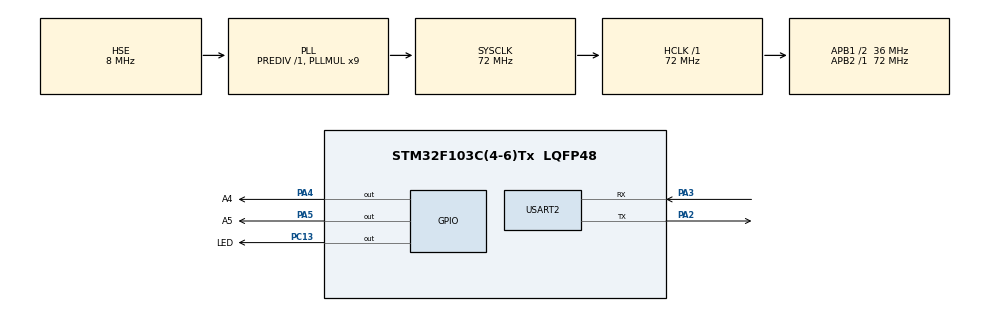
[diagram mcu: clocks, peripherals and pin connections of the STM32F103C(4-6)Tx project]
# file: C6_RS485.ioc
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Mcu.Family=STM32F1
Mcu.Name=STM32F103C(4-6)Tx
Mcu.Package=LQFP48
NVIC.PriorityGroup=NVIC_PRIORITYGROUP_4
NVIC.USART2_IRQn=true\:0\:0\:false\:false\:true\:true\:true
PA13.Mode=Serial_Wire
PA13.Signal=SYS_JTMS-SWDIO
PA14.Mode=Serial_Wire
PA14.Signal=SYS_JTCK-SWCLK
PA2.Mode=Asynchronous
PA2.Signal=USART2_TX
PA3.Mode=Asynchronous
PA3.Signal=USART2_RX
PA4.GPIO_Label=A4
PA4.Signal=GPIO_Output
PA5.GPIO_Label=A5
PA5.Signal=GPIO_Output
PC13-TAMPER-RTC.GPIO_Label=LED
PC13-TAMPER-RTC.Signal=GPIO_Output
PD0-OSC_IN.Mode=HSE-External-Oscillator
PD0-OSC_IN.Signal=RCC_OSC_IN
PD1-OSC_OUT.Mode=HSE-External-Oscillator
PD1-OSC_OUT.Signal=RCC_OSC_OUT
ProjectManager.HeapSize=0x200
ProjectManager.StackSize=0x400
ProjectManager.TargetToolchain=STM32CubeIDE
RCC.AHBFreq_Value=72000000
RCC.APB1CLKDivider=RCC_HCLK_DIV2
RCC.APB1Freq_Value=36000000
RCC.APB1TimFreq_Value=72000000
RCC.APB2Freq_Value=72000000
RCC.APB2TimFreq_Value=72000000
RCC.HCLKFreq_Value=72000000
RCC.PLLMUL=RCC_PLL_MUL9
RCC.PLLSourceVirtual=RCC_PLLSOURCE_HSE
RCC.SYSCLKFreq_VALUE=72000000
RCC.SYSCLKSource=RCC_SYSCLKSOURCE_PLLCLK
RCC.USBFreq_Value=72000000
USART2.VirtualMode=VM_ASYNC
board=custom

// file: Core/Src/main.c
/* USER CODE BEGIN Header */
/**
 ******************************************************************************
 * @file           : main.c
 * @brief          : Main program body
 ******************************************************************************
 * @attention
 *
 * <h2><center>&copy; Copyright (c) 2023 STMicroelectronics.
 * All rights reserved.</center></h2>
 *
 * This software component is licensed by ST under BSD 3-Clause license,
 * the "License"; You may not use this file except in compliance with the
 * License. You may obtain a copy of the License at:
 *                        opensource.org/licenses/BSD-3-Clause
 *
 ******************************************************************************
 */
/* USER CODE END Header */
#include "main.h"

/* USER CODE BEGIN Includes */
#include "modbus_crc.h"
#include "string.h"
#include "stdio.h"
/* USER CODE END Includes */

UART_HandleTypeDef huart2;

void SystemClock_Config(void);
static void MX_GPIO_Init(void);
static void MX_USART2_UART_Init(void);

/* USER CODE BEGIN 0 */
uint8_t RxData[32];
uint8_t TxData[8];
uint16_t Data[10];
void HAL_UARTEx_RxEventCallback(UART_HandleTypeDef *huart, uint16_t Size) {
	Data[0] = RxData[3] << 8 | RxData[4];
	Data[1] = RxData[5] << 8 | RxData[6];
	Data[2] = RxData[7] << 8 | RxData[8];
	Data[3] = RxData[9] << 8 | RxData[10];
	HAL_UARTEx_ReceiveToIdle_IT(&huart2, RxData, 32);
}
void sendData(uint8_t *data) {
	HAL_GPIO_WritePin(A5_GPIO_Port, A5_Pin, 1);
	HAL_GPIO_WritePin(A4_GPIO_Port, A4_Pin, 1);
	HAL_UART_Transmit(&huart2, data, 8, 1000);
	HAL_GPIO_WritePin(A5_GPIO_Port, A5_Pin, 0);
	HAL_GPIO_WritePin(A4_GPIO_Port, A4_Pin, 0);
}
/* USER CODE END 0 */

int main(void) {

	/* MCU Configuration--------------------------------------------------------*/

	/* Reset of all peripherals, Initializes the Flash interface and the Systick. */
	HAL_Init();

	/* Configure the system clock */
	SystemClock_Config();

	/* Initialize all configured peripherals */
	MX_GPIO_Init();
	MX_USART2_UART_Init();
	/* USER CODE BEGIN 2 */
	HAL_UARTEx_ReceiveToIdle_IT(&huart2, RxData, 32);

	TxData[0] = 0x00;  // slave address
	TxData[1] = 0x03;  // Function code for Read Holding Registers
	//TxData[1] = 0x04;  // Function code for Read Input Registers

	/*
	 * The function code 0x03 means we are reading Holding Registers
	 * The Register address ranges from 40001 - 50000
	 * The register address we input can range from 0-9999 (0x00-0x270F)
	 * Here 0 corresponds to the Address 40001 and 9999 corresponds to 50000
	 * Although we can only read 125 registers sequentially at once
	 */
	//  //The Register address will be 00000000 00000100 = 4 + 40001 = 40005
	TxData[2] = 0;			// address begin 4001
	TxData[3] = 0x00;		// 4001 + 0x01 = 4002
	//The Register address will be 00000000 00000001 = 1 +30001 = 30002

	TxData[4] = 0;			// 0x00
	TxData[5] = 0x05;		// 0x00 + 0x05 = 5 registers
	// no of registers to read will be 00000000 00000101 = 5 Registers = 10 Bytes

	/// 0x00 0x03 0x00 0x01 0x00 0x05 -> read address 4002  ->> 4006 ///

	uint16_t crc = crc16(TxData, 6);
	TxData[6] = crc & 0xFF;   // CRC LOW
	TxData[7] = (crc >> 8) & 0xFF;  // CRC HIGH

	sendData(TxData);
	/* USER CODE END 2 */

	/* Infinite loop */
	/* USER CODE BEGIN WHILE */
	while (1) {
		// TODO
		HAL_GPIO_TogglePin(LED_GPIO_Port, LED_Pin);
		sendData(TxData);
		HAL_Delay(1000);
		/* USER CODE END WHILE */

	}
}

void SystemClock_Config(void) {
	RCC_OscInitTypeDef RCC_OscInitStruct = { 0 };
	RCC_ClkInitTypeDef RCC_ClkInitStruct = { 0 };

	/** Initializes the RCC Oscillators according to the specified parameters
	 * in the RCC_OscInitTypeDef structure.
	 */
	RCC_OscInitStruct.OscillatorType = RCC_OSCILLATORTYPE_HSE;
	RCC_OscInitStruct.HSEState = RCC_HSE_ON;
	RCC_OscInitStruct.HSEPredivValue = RCC_HSE_PREDIV_DIV1;
	RCC_OscInitStruct.HSIState = RCC_HSI_ON;
	RCC_OscInitStruct.PLL.PLLState = RCC_PLL_ON;
	RCC_OscInitStruct.PLL.PLLSource = RCC_PLLSOURCE_HSE;
	RCC_OscInitStruct.PLL.PLLMUL = RCC_PLL_MUL9;
	if (HAL_RCC_OscConfig(&RCC_OscInitStruct) != HAL_OK) {
		Error_Handler();
	}
	/** Initializes the CPU, AHB and APB buses clocks
	 */
	RCC_ClkInitStruct.ClockType = RCC_CLOCKTYPE_HCLK | RCC_CLOCKTYPE_SYSCLK
			| RCC_CLOCKTYPE_PCLK1 | RCC_CLOCKTYPE_PCLK2;
	RCC_ClkInitStruct.SYSCLKSource = RCC_SYSCLKSOURCE_PLLCLK;
	RCC_ClkInitStruct.AHBCLKDivider = RCC_SYSCLK_DIV1;
	RCC_ClkInitStruct.APB1CLKDivider = RCC_HCLK_DIV2;
	RCC_ClkInitStruct.APB2CLKDivider = RCC_HCLK_DIV1;

	if (HAL_RCC_ClockConfig(&RCC_ClkInitStruct, FLASH_LATENCY_2) != HAL_OK) {
		Error_Handler();
	}
}

static void MX_USART2_UART_Init(void) {

	huart2.Instance = USART2;
	huart2.Init.BaudRate = 115200;
	huart2.Init.WordLength = UART_WORDLENGTH_8B;
	huart2.Init.StopBits = UART_STOPBITS_1;
	huart2.Init.Parity = UART_PARITY_NONE;
	huart2.Init.Mode = UART_MODE_TX_RX;
	huart2.Init.HwFlowCtl = UART_HWCONTROL_NONE;
	huart2.Init.OverSampling = UART_OVERSAMPLING_16;
	if (HAL_UART_Init(&huart2) != HAL_OK) {
		Error_Handler();
	}

}

static void MX_GPIO_Init(void) {
	GPIO_InitTypeDef GPIO_InitStruct = { 0 };

	/* GPIO Ports Clock Enable */
	__HAL_RCC_GPIOC_CLK_ENABLE();
	__HAL_RCC_GPIOD_CLK_ENABLE();
	__HAL_RCC_GPIOA_CLK_ENABLE();

	/*Configure GPIO pin Output Level */
	HAL_GPIO_WritePin(LED_GPIO_Port, LED_Pin, GPIO_PIN_RESET);

	/*Configure GPIO pin Output Level */
	HAL_GPIO_WritePin(GPIOA, A4_Pin | A5_Pin, GPIO_PIN_RESET);

	/*Configure GPIO pin : LED_Pin */
	GPIO_InitStruct.Pin = LED_Pin;
	GPIO_InitStruct.Mode = GPIO_MODE_OUTPUT_PP;
	GPIO_InitStruct.Pull = GPIO_NOPULL;
	GPIO_InitStruct.Speed = GPIO_SPEED_FREQ_LOW;
	HAL_GPIO_Init(LED_GPIO_Port, &GPIO_InitStruct);

	/*Configure GPIO pins : A4_Pin A5_Pin */
	GPIO_InitStruct.Pin = A4_Pin | A5_Pin;
	GPIO_InitStruct.Mode = GPIO_MODE_OUTPUT_PP;
	GPIO_InitStruct.Pull = GPIO_NOPULL;
	GPIO_InitStruct.Speed = GPIO_SPEED_FREQ_LOW;
	HAL_GPIO_Init(GPIOA, &GPIO_InitStruct);

}

void Error_Handler(void) {
	__disable_irq();
	while (1) {
	}
}

/************************ (C) COPYRIGHT STMicroelectronics *****END OF FILE****/
